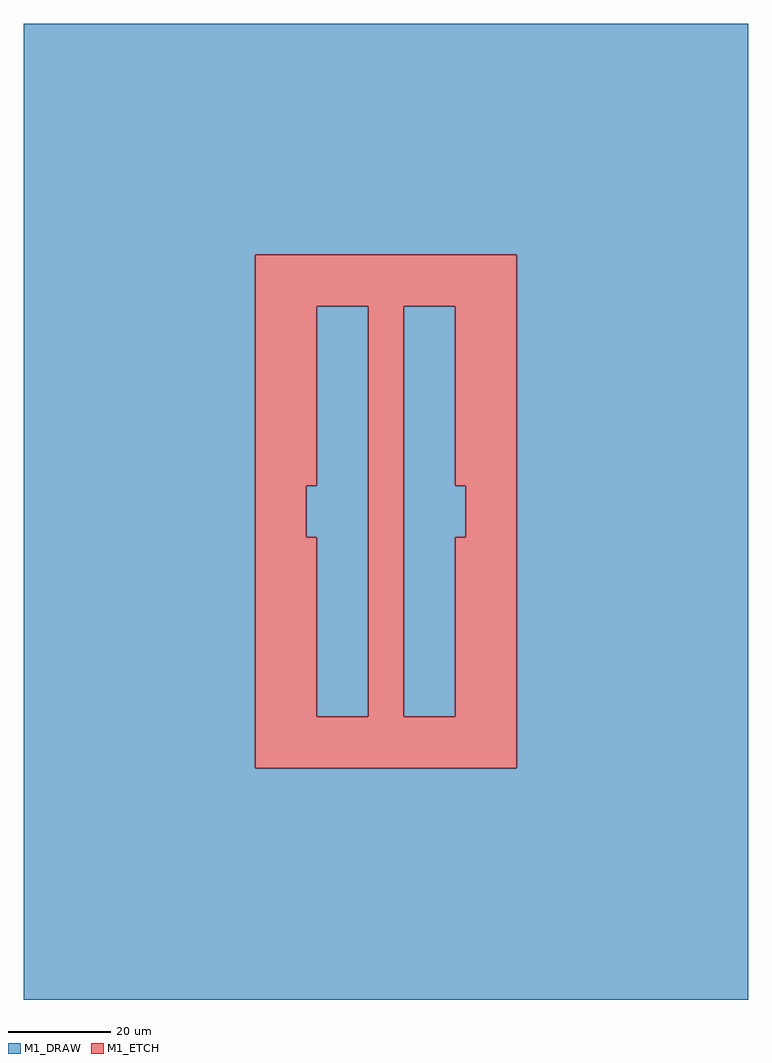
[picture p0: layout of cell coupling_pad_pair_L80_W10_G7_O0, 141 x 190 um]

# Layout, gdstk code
from math import pi, radians
import gdstk
lib = gdstk.Library(unit=1e-6, precision=1e-09)
def P(c, l, *ps):  # polygons
    for p in ps: c.add(gdstk.Polygon(p, *l))
M1_DRAW = (1, 0)
M1_ETCH = (1, 1)

plate_capacitor_single_l = lib.new_cell('plate_capacitor_single_L80_W10_LMM1_DRAW_ELM1_ETCH_EBM2_CScpw')
P(plate_capacitor_single_l, M1_DRAW, [(-5,-40),(-5,-5),(-7,-5),(-7,5),(-5,5),(-5,40),(5,40),(5,-40)])
P(plate_capacitor_single_l, M1_ETCH, [(-7,-42),(-7,-5),(-5,-5),(-5,-40),(5,-40),(5,40),(-5,40),(-5,5),(-7,5),(-7,42),(7,42),(7,-42)])

coupling_pad_pair_l80_w1 = lib.new_cell('coupling_pad_pair_L80_W10_G7_O0')
P(coupling_pad_pair_l80_w1, M1_DRAW, [(-62,-95),(-62,50),(-17,50),(-17,-50),(34,-50),(34,50),(-62,50),(-62,95),(79,95),(79,-95)])
P(coupling_pad_pair_l80_w1, M1_ETCH, [(-17,-50),(-17,40),(-5,40),(-5,5),(-7,5),(-7,-5),(-5,-5),(-5,-40),(5,-40),(5,40),(12,40),(12,-40),(22,-40),(22,-5),(24,-5),(24,5),(22,5),(22,40),(-17,40),(-17,50),(34,50),(34,-50)])
coupling_pad_pair_l80_w1.add(gdstk.Reference(plate_capacitor_single_l, (0,0)))
coupling_pad_pair_l80_w1.add(gdstk.Reference(plate_capacitor_single_l, (17,0), rotation=pi))

lib.write_gds('coupling_pad_pair_L80_W10_G7_O0.gds')
